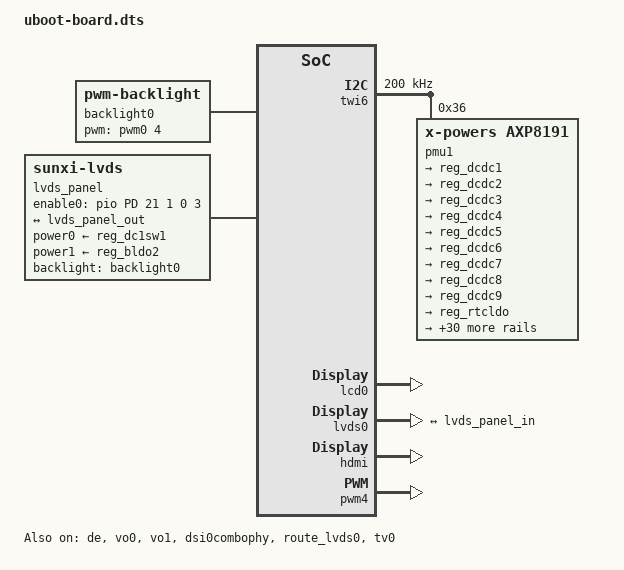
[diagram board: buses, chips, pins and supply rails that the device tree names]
/*
 * Allwinner Technology CO., Ltd. sun60iw2p1 soc board.
 *
 * soc board support.
 */
/ {
	backlight0: backlight0 {
		compatible = "pwm-backlight";
		status = "okay";
		brightness-levels = <
			  0   1   2   3   4   5   6   7
			  8   9  10  11  12  13  14  15
			 16  17  18  19  20  21  22  23
			 24  25  26  27  28  29  30  31
			 32  33  34  35  36  37  38  39
			 40  41  42  43  44  45  46  47
			 48  49  50  51  52  53  54  55
			 56  57  58  59  60  61  62  63
			 64  65  66  67  68  69  70  71
			 72  73  74  75  76  77  78  79
			 80  81  82  83  84  85  86  87
			 88  89  90  91  92  93  94  95
			 96  97  98  99 100 101 102 103
			104 105 106 107 108 109 110 111
			112 113 114 115 116 117 118 119
			120 121 122 123 124 125 126 127
			128 129 130 131 132 133 134 135
			136 137 138 139 140 141 142 143
			144 145 146 147 148 149 150 151
			152 153 154 155 156 157 158 159
			160 161 162 163 164 165 166 167
			168 169 170 171 172 173 174 175
			176 177 178 179 180 181 182 183
			184 185 186 187 188 189 190 191
			192 193 194 195 196 197 198 199
			200 201 202 203 204 205 206 207
			208 209 210 211 212 213 214 215
			216 217 218 219 220 221 222 223
			224 225 226 227 228 229 230 231
			232 233 234 235 236 237 238 239
			240 241 242 243 244 245 246 247
			248 249 250 251 252 253 254 255>;
		default-brightness-level = <73>;
		pwms = <&pwm0 4 25000 0>;
	};

	lvds_panel: lvds_panel@0 {
		compatible = "sunxi-lvds";
		status = "okay";
		power-delay-ms = <10>;
		power0-supply = <&reg_dc1sw1>;
		power1-supply = <&reg_bldo2>;
		backlight = <&backlight0>;
		bus-format = <MEDIA_BUS_FMT_RGB888_1X7X4_SPWG>;
		enable0-gpios = <&pio PD 21 1 0 3 1>;
		display-timings {
			native-mode = <&lvds0_timing0>;
			lvds0_timing0: timing0 {
				clock-frequency = <74871600>;
				hback-porch = <70>;
				hactive = <1280>;
				hfront-porch = <83>;
				hsync-len = <18>;
				vback-porch = <13>;
				vactive = <800>;
				vfront-porch = <37>;
				vsync-len = <10>;
			};
		};
		port {
			lvds_panel_in: endpoint {
				remote-endpoint = <&lvds_panel_out>;
			};
		};
	};

};

&platform {
	eraseflag   = <1>;
	next_work   = <3>;
	debug_mode  = <4>;
};

&target {
	boot_clock = <1008>;	/*CPU boot frequency, Unit: MHz*/
	storage_type = <0xffffffff>; /*boot medium, 0-nand, 1-card0, 2-card2, -1(defualt)auto scan*/
	burn_key = <1>;		/*1:support burn key; 0:not support burn key*/
	dragonboard_test = <0>;	/*1:support card boot dragonboard; 0:not support card boot dragonboard*/
};

&power_sply {
	ntc_status = <0>;
	battery_exist = <0>;
};

&charger0 {
	pmu_safe_vol = <3400>;
	ntc_cur = <60>;
	safe_temp_H = <600>;//60
	safe_temp_L = <0xFFFFFFCE>;//-5
	pmu_bat_temp_para1 = <4541>; //Murata -25
	pmu_bat_temp_para2 = <2762>; //-15
	pmu_bat_temp_para3 = <2180>; //-10
	pmu_bat_temp_para4 = <1732>; //-5
	pmu_bat_temp_para5 = <1386>;//0
	pmu_bat_temp_para6 = <1117>; //5
	pmu_bat_temp_para7 = <905>; //10
	pmu_bat_temp_para8 = <606>; //20
	pmu_bat_temp_para9 = <414>; //30
	pmu_bat_temp_para10 = <290>; //40
	pmu_bat_temp_para11 = <244>; //45
	pmu_bat_temp_para12 = <205>; //50
	pmu_bat_temp_para13 = <176>; //55
	pmu_bat_temp_para14 = <150>; //60
	pmu_bat_temp_para15 = <111>; //70
	pmu_bat_temp_para16 = <83>; //80
};

&twi6 {
	clock-frequency = <200000>;
	pinctrl-0 = <&s_twi0_pins_a>;
	pinctrl-1 = <&s_twi0_pins_b>;
	twi-supply = <&reg_aldo3>;
	status = "okay";
	pmu1: pmu@36 {
		compatible = "x-powers,axp8191";
		reg = <0x36>;
		status = "okay";

		regulator0: regulators@0 {
			reg_dcdc1: dcdc1 {
				regulator-name = "axp8191-dcdc1";
			};
			reg_dcdc2: dcdc2 {
				regulator-name = "axp8191-dcdc2";
			};
			reg_dcdc3: dcdc3 {
				regulator-name = "axp8191-dcdc3";
			};
			reg_dcdc4: dcdc4 {
				regulator-name = "axp8191-dcdc4";
			};
			reg_dcdc5: dcdc5 {
				regulator-name = "axp8191-dcdc5";
			};
			reg_dcdc6: dcdc6 {
				regulator-name = "axp8191-dcdc6";
			};
			reg_dcdc7: dcdc7 {
				regulator-name = "axp8191-dcdc7";
			};
			reg_dcdc8: dcdc8 {
				regulator-name = "axp8191-dcdc8";
			};
			reg_dcdc9: dcdc9 {
				regulator-name = "axp8191-dcdc9";
			};
			reg_rtcldo: rtcldo {
				regulator-name = "axp8191-rtcldo";
			};
			reg_aldo1: aldo1 {
				regulator-name = "axp8191-aldo1";
			};
			reg_aldo2: aldo2 {
				regulator-name = "axp8191-aldo2";
			};
			reg_aldo3: aldo3 {
				regulator-name = "axp8191-aldo3";
			};
			reg_aldo4: aldo4 {
				regulator-name = "axp8191-aldo4";
			};
			reg_aldo5: aldo5 {
				regulator-name = "axp8191-aldo5";
			};
			reg_aldo6: aldo6 {
				regulator-name = "axp8191-aldo6";
			};
			reg_bldo1: bldo1 {
				regulator-name = "axp8191-bldo1";
			};
			reg_bldo2: bldo2 {
				regulator-name = "axp8191-bldo2";
			};
			reg_bldo3: bldo3 {
				regulator-name = "axp8191-bldo3";
			};
			reg_bldo4: bldo4 {
				regulator-name = "axp8191-bldo4";
			};
			reg_bldo5: bldo5 {
				regulator-name = "axp8191-bldo5";
			};
			reg_cldo1: cldo1 {
				regulator-name = "axp8191-cldo1";
			};
			reg_cldo2: cldo2 {
				regulator-name = "axp8191-cldo2";
			};
			reg_cldo3: cldo3 {
				regulator-name = "axp8191-cldo3";
			};
			reg_cldo4: cldo4 {
				regulator-name = "axp8191-cldo4";
			};
			reg_cldo5: cldo5 {
				regulator-name = "axp8191-cldo5";
			};
			reg_dldo1: dldo1 {
				regulator-name = "axp8191-dldo1";
			};
			reg_dldo2: dldo2 {
				regulator-name = "axp8191-dldo2";
			};
			reg_dldo3: dldo3 {
				regulator-name = "axp8191-dldo3";
			};
			reg_dldo4: dldo4 {
				regulator-name = "axp8191-dldo4";
			};
			reg_dldo5: dldo5 {
				regulator-name = "axp8191-dldo5";
			};
			reg_dldo6: dldo6 {
				regulator-name = "axp8191-dldo6";
			};
			reg_eldo1: eldo1 {
				regulator-name = "axp8191-eldo1";
			};
			reg_eldo2: eldo2 {
				regulator-name = "axp8191-eldo2";
			};
			reg_eldo3: eldo3 {
				regulator-name = "axp8191-eldo3";
			};
			reg_eldo4: eldo4 {
				regulator-name = "axp8191-eldo4";
			};
			reg_eldo5: eldo5 {
				regulator-name = "axp8191-eldo5";
			};
			reg_eldo6: eldo6 {
				regulator-name = "axp8191-eldo6";
			};
			reg_dc1sw1: dc1sw1 {
				regulator-name = "axp8191-dc1sw1";
				swin-supply = <&reg_dcdc1>;
			};
			reg_dc1sw2: dc1sw2 {
				regulator-name = "axp8191-dc1sw2";
				swin-supply = <&reg_dcdc1>;
			};
		};
	};
};

&sdc0_pins_a {
		allwinner,pins = "PF0", "PF1", "PF2",
				 "PF3", "PF4", "PF5";
		allwinner,function = "sdc0";
		allwinner,muxsel = <2>;
		allwinner,drive = <1>;
		allwinner,pull = <1>;
};

&sdc0_pins_b {
		allwinner,pins = "PF0", "PF1", "PF2",
				 "PF3", "PF4", "PF5";
		allwinner,function = "io_disabled";
		allwinner,muxsel = <7>;
		allwinner,drive = <0>;
		allwinner,pull = <1>;
};

&sdc0_pins_c {
		allwinner,pins = "PF0", "PF1", "PF2",
		  		 "PF3", "PF4", "PF5";
		allwinner,function = "uart0_jtag";
		allwinner,muxsel = <3>;
		allwinner,drive = <0>;
		allwinner,pull = <1>;
};


&sdc2_pins_a {
		allwinner,pins = "PC1", "PC5", "PC6",
				 "PC8", "PC9", "PC10", "PC11",
				 "PC13", "PC14", "PC15", "PC16";
		allwinner,function = "sdc2";
		allwinner,muxsel = <3>;
		allwinner,drive = <1>;
		allwinner,pull = <1>;
};

&sdc2_pins_b {
		allwinner,pins = "PC0", "PC1", "PC5", "PC6",
				 "PC8", "PC9", "PC10", "PC11",
				 "PC13", "PC14", "PC15", "PC16";
		allwinner,function = "io_disabled";
		allwinner,muxsel = <7>;
		allwinner,drive = <0>;
		allwinner,pull = <1>;
};

&sdc2_pins_c {
		allwinner,pins = "PC0";
		allwinner,function = "sdc2";
		allwinner,muxsel = <3>;
		allwinner,drive = <1>;
		allwinner,pull = <2>;
};

&pwm4_pin_active {
		allwinner,pins = "PD22";
		allwinner,function = "pwm0_4";
		allwinner,muxsel = <0x2>;
		allwinner,drive = <3>;
		allwinner,pull = <2>;
};

&pwm4_pin_sleep {
		allwinner,pins = "PD22";
		allwinner,function = "io_disabled";
		allwinner,muxsel = <0xf>;
		allwinner,drive = <3>;
		allwinner,pull = <2>;
};

&card0_boot_para {
		/* Avoid dtc compiling warnings. @TODO: Developer should modify this to the actual value */
		/* reg = <0x0 0x2 0x0 0x0>;  [> Avoid dtc compiling warnings. @TODO: Developer should modify this to the actual value <] */
	device_type = "card0_boot_para";
	card_ctrl = <0x0>;
	card_high_speed = <0x1>;
	card_line = <0x4>;
	clk_mmc = "sdmmc0_mod";
	pll-0 = "hosc";
	pll-1 = "pll_periph1_400m";
	pll-2 = "pll_periph1_300m";
	pinctrl-0 = <&sdc0_pins_a>;
	clk_type = "typ1";
};

&card2_boot_para {
	/*
	* Avoid dtc compiling warnings.
	* @TODO: Developer should modify this to the actual value
	*/
	reg = <0x0 0x3 0x0 0x0>;
	device_type = "card2_boot_para";
	card_ctrl = <0x2>;
	card_high_speed = <0x1>;
	card_line = <0x8>;
	clk_mmc = "sdmmc2_mod";
	pll-0 = "hosc";
	pll-1 = "pll_periph1_800m";
	pll-2 = "pll_periph1_600m";
	pinctrl-0 = <&sdc2_pins_a &sdc2_pins_c>;
	sdc_ex_dly_used = <0x2>;
	sdc_tm4_hs200_max_freq = <150>;
	sdc_tm4_hs400_max_freq = <150>;
	sdc_tm4_win_th = <0x7>;
	sdc_io_1v8 = <0x1>;
	sdc_type = "tm4";
	clk_type = "typ1";
};

&de {
	chn_cfg_mode = <2>;
	status = "okay";
};

&clk_de0 {
	assigned-clock-rates = <600000000>;
};

&vo0 {
	status = "okay";
};

&vo1 {
	status = "okay";
};

&lcd0 {
	status = "okay";
};

&lvds0 {
	status = "okay";
	dual-channel = <0>;
	pinctrl-0 = <&lvds0_pins_a>;
	pinctrl-1 = <&lvds0_pins_b>;
	pinctrl-names = "active","sleep";
	ports {
		port@1 {
			reg = <1>;
			lvds_panel_out: endpoint@0 {
				reg = <0>;
				remote-endpoint = <&lvds_panel_in>;
			};
		};
	};
};

&dsi0combophy {
	status = "okay";
};
&route_lvds0 {
	status = "okay";
	logo,uboot = "bootlogo.bmp";
};

&tv0 {
	status = "okay";
};

&hdmi {
	dcdc2-supply = <&reg_dcdc2>;
	hdmi_power0 = "dcdc2";
	hdmi_power_cnt = <1>;

	snps_phy = <
		 25000 165000 0x0007 0x8240 0x8082
		165000 340000 0x0004 0x8240 0x80C3
		340000 600000 0x0000 0x8240 0x80F9>;

	status = "okay";
};

&pwm4{
	pinctrl-names = "active","sleep";
	pinctrl-0 = <&pwm4_pin_active>;
	pinctrl-1 = <&pwm4_pin_sleep>;
	status = "okay";
};
